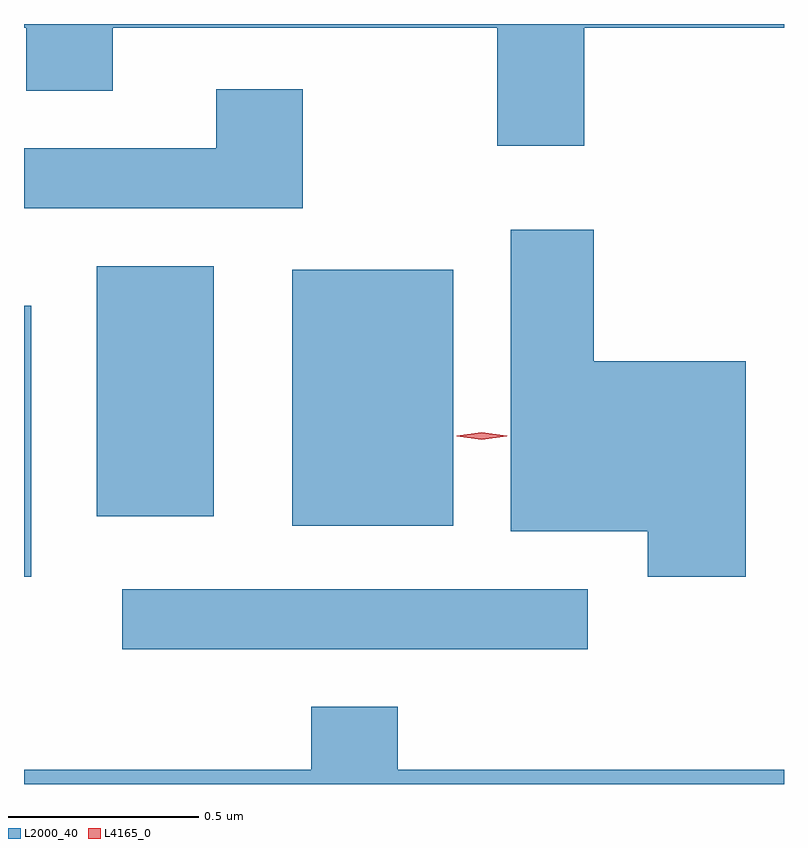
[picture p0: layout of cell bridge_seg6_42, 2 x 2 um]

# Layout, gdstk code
import gdstk
lib = gdstk.Library(unit=1e-6, precision=1e-09)
def R(c, l, rs):  # rectangles x0, y0, x1, y1
    for r in rs: c.add(gdstk.rectangle(r[:2], r[2:], *l))
def P(c, l, *ps):  # polygons
    for p in ps: c.add(gdstk.Polygon(p, *l))
L2000_40 = (2000, 40)
L4165_0 = (4165, 0)

bridge_seg6_42 = lib.new_cell('bridge_seg6_42')
R(bridge_seg6_42, L2000_40, [(1618.773,1663.841,1619.998,1663.999), (1618.515,1664.031,1618.534,1664.744), (1619.221,1664.166,1619.644,1664.839), (1618.706,1664.191,1619.014,1664.849)])
P(bridge_seg6_42, L2000_40, [(1619.989,1665.476),(1620.515,1665.476),(1620.515,1665.486),(1618.515,1665.486),(1618.515,1665.476),(1618.521,1665.476),(1618.521,1665.311),(1618.749,1665.311),(1618.749,1665.476),(1619.761,1665.476),(1619.761,1665.166),(1619.989,1665.166)],
  [(1619.249,1665.314),(1619.021,1665.314),(1619.021,1665.159),(1618.515,1665.159),(1618.515,1665.001),(1619.249,1665.001)],
  [(1620.414,1664.599),(1620.014,1664.599),(1620.014,1664.944),(1619.796,1664.944),(1619.796,1664.151),(1620.156,1664.151),(1620.156,1664.031),(1620.414,1664.031)],
  [(1620.515,1663.524),(1619.499,1663.524),(1619.499,1663.689),(1619.271,1663.689),(1619.271,1663.524),(1618.515,1663.524),(1618.515,1663.486),(1620.515,1663.486)])
P(bridge_seg6_42, L4165_0, [(1619.72,1664.392),(1619.654,1664.401),(1619.654,1664.402),(1619.654,1664.402),(1619.72,1664.412),(1619.786,1664.402),(1619.787,1664.402),(1619.786,1664.401)])

lib.write_gds('bridge_seg6_42.gds')
